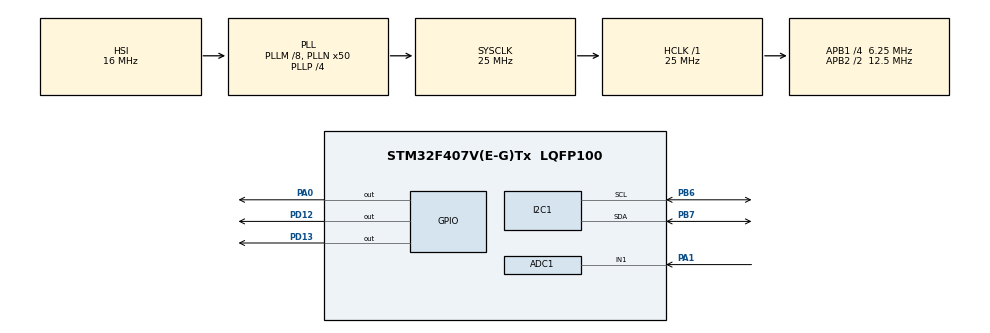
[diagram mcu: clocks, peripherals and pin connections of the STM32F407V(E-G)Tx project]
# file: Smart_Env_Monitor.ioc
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ADC1.Channel-1\#ChannelRegularConversion=ADC_CHANNEL_1
ADC1.NbrOfConversionFlag=1
ADC1.Rank-1\#ChannelRegularConversion=1
ADC1.SamplingTime-1\#ChannelRegularConversion=ADC_SAMPLETIME_3CYCLES
ADC1.master=1
Mcu.Family=STM32F4
Mcu.Name=STM32F407V(E-G)Tx
Mcu.Package=LQFP100
NVIC.PriorityGroup=NVIC_PRIORITYGROUP_0
PA0-WKUP.Signal=GPIO_Output
PA1.Signal=ADCx_IN1
PB6.Mode=I2C
PB6.Signal=I2C1_SCL
PB7.Mode=I2C
PB7.Signal=I2C1_SDA
PD12.Signal=GPIO_Output
PD13.Signal=GPIO_Output
PH0-OSC_IN.Mode=HSE-External-Oscillator
PH0-OSC_IN.Signal=RCC_OSC_IN
PH1-OSC_OUT.Mode=HSE-External-Oscillator
PH1-OSC_OUT.Signal=RCC_OSC_OUT
ProjectManager.HeapSize=0x200
ProjectManager.StackSize=0x400
ProjectManager.TargetToolchain=STM32CubeIDE
RCC.48MHZClocksFreq_Value=14285714.285714285
RCC.AHBFreq_Value=25000000
RCC.APB1CLKDivider=RCC_HCLK_DIV4
RCC.APB1Freq_Value=6250000
RCC.APB1TimFreq_Value=12500000
RCC.APB2CLKDivider=RCC_HCLK_DIV2
RCC.APB2Freq_Value=12500000
RCC.APB2TimFreq_Value=25000000
RCC.CortexFreq_Value=25000000
RCC.HCLKFreq_Value=25000000
RCC.HSE_VALUE=8000000
RCC.HSI_VALUE=16000000
RCC.LSE_VALUE=32768
RCC.PLLM=8
RCC.PLLN=50
RCC.PLLP=RCC_PLLP_DIV4
RCC.PLLQ=7
RCC.SYSCLKFreq_VALUE=25000000
RCC.SYSCLKSource=RCC_SYSCLKSOURCE_PLLCLK
RCC.VCOOutputFreq_Value=100000000
SH.ADCx_IN1.0=ADC1_IN1,IN1
board=STM32F407G-DISC1

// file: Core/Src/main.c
/* USER CODE BEGIN Header */
/**
  ******************************************************************************
  * @file           : main.c
  * @brief          : Main program body
  ******************************************************************************
  * @attention
  *
  * Copyright (c) 2025 STMicroelectronics.
  * All rights reserved.
  *
  * This software is licensed under terms that can be found in the LICENSE file
  * in the root directory of this software component.
  * If no LICENSE file comes with this software, it is provided AS-IS.
  *
  ******************************************************************************
  */
/* USER CODE END Header */
#include "main.h"

/* USER CODE BEGIN Includes */
#include "main.h"
#include "My_lcd.h"
#include "Mq2.h"
#include "DHT11.h"
#include <stdio.h>
#include<string.h>

/* USER CODE END Includes */

ADC_HandleTypeDef hadc1;

I2C_HandleTypeDef hi2c1;

void SystemClock_Config(void);
static void MX_GPIO_Init(void);
static void MX_ADC1_Init(void);
static void MX_I2C1_Init(void);

int main(void)
{

  /* MCU Configuration--------------------------------------------------------*/

  /* Reset of all peripherals, Initializes the Flash interface and the Systick. */
  HAL_Init();

  /* Configure the system clock */
  SystemClock_Config();

  /* Initialize all configured peripherals */
  MX_GPIO_Init();
  MX_ADC1_Init();
  MX_I2C1_Init();
  /* USER CODE BEGIN 2 */

  uint8_t temperature = 0;
  uint8_t humidity = 0;
  char str[20];
  char str1[50];
  int gas;
    if (!lcd16x2_i2c_init(&hi2c1))
        {
            // LCD not detected
            while(1);
         }
    lcd16x2_i2c_clear();
    lcd16x2_i2c_setCursor(0, 0);
   	lcd16x2_i2c_printf("start:");
    HAL_Delay(2000);

  /* USER CODE END 2 */

  /* Infinite loop */
  while (1)
  {

    /* USER CODE BEGIN 3 */

	  gas = mq2_Read();
	  		  	  	  lcd16x2_i2c_clear();
	  		  	 	  lcd16x2_i2c_setCursor(0, 0);
	  		  	 	  lcd16x2_i2c_printf("Alert:");
	  		  	      lcd16x2_i2c_setCursor(0, 7);
	  		  	      sprintf(str, " ADC:%d", gas);
	  		  	 	  lcd16x2_i2c_printf(str);
	  		  	 	  HAL_Delay(1000);

	  		  	 	 HAL_GPIO_WritePin(GPIOD,GPIO_PIN_12|GPIO_PIN_13,GPIO_PIN_RESET);
	  		  	     if (gas >200 && gas<500)
	  		  	 	  {
	  		  	 	 HAL_GPIO_WritePin(GPIOD, GPIO_PIN_12, GPIO_PIN_SET);
	  		  	      }
	  		  	     else if(gas>500 && gas<2000)
	  		  	 	 {
	  		  	 	  HAL_GPIO_WritePin(GPIOD, GPIO_PIN_13, GPIO_PIN_SET);
	  		  	 	 }

	  		  	    // HAL_Delay(10);
	  		  	    // lcd16x2_i2c_setCursor(1,0);

	  		  	     	  //gas = mq2_Read();
	  		  	     //lcd16x2_i2c_clear();
	  		  	   HAL_Delay(2000);
	  		  	     int test = DHT11_Read(&temperature, &humidity);
	  		  	      lcd16x2_i2c_clear();
	  		  	  	  lcd16x2_i2c_setCursor(1, 0);
	  		  	  	  sprintf(str1, "ret = %d", test);
	  		  	  	lcd16x2_i2c_printf(str1);

	  		  	     	  if ( test == 0)
	  		  	     	  {
	  		  	     		  lcd16x2_i2c_clear();
	  		  	     	      lcd16x2_i2c_setCursor(1, 0);
	  		  	     	      sprintf(str1, "T:%d C,H=%d ", temperature, humidity);
	  		  	     	      lcd16x2_i2c_printf(str1);
	  		  	     	      HAL_Delay(1000);

	  		  	     	  }

  }
  /* USER CODE END 3 */
}

void SystemClock_Config(void)
{
  RCC_OscInitTypeDef RCC_OscInitStruct = {0};
  RCC_ClkInitTypeDef RCC_ClkInitStruct = {0};

  /** Configure the main internal regulator output voltage
  */
  __HAL_RCC_PWR_CLK_ENABLE();
  __HAL_PWR_VOLTAGESCALING_CONFIG(PWR_REGULATOR_VOLTAGE_SCALE1);

  /** Initializes the RCC Oscillators according to the specified parameters
  * in the RCC_OscInitTypeDef structure.
  */
  RCC_OscInitStruct.OscillatorType = RCC_OSCILLATORTYPE_HSI;
  RCC_OscInitStruct.HSIState = RCC_HSI_ON;
  RCC_OscInitStruct.HSICalibrationValue = RCC_HSICALIBRATION_DEFAULT;
  RCC_OscInitStruct.PLL.PLLState = RCC_PLL_ON;
  RCC_OscInitStruct.PLL.PLLSource = RCC_PLLSOURCE_HSI;
  RCC_OscInitStruct.PLL.PLLM = 8;
  RCC_OscInitStruct.PLL.PLLN = 50;
  RCC_OscInitStruct.PLL.PLLP = RCC_PLLP_DIV4;
  RCC_OscInitStruct.PLL.PLLQ = 7;
  if (HAL_RCC_OscConfig(&RCC_OscInitStruct) != HAL_OK)
  {
    Error_Handler();
  }

  /** Initializes the CPU, AHB and APB buses clocks
  */
  RCC_ClkInitStruct.ClockType = RCC_CLOCKTYPE_HCLK|RCC_CLOCKTYPE_SYSCLK
                              |RCC_CLOCKTYPE_PCLK1|RCC_CLOCKTYPE_PCLK2;
  RCC_ClkInitStruct.SYSCLKSource = RCC_SYSCLKSOURCE_PLLCLK;
  RCC_ClkInitStruct.AHBCLKDivider = RCC_SYSCLK_DIV1;
  RCC_ClkInitStruct.APB1CLKDivider = RCC_HCLK_DIV4;
  RCC_ClkInitStruct.APB2CLKDivider = RCC_HCLK_DIV2;

  if (HAL_RCC_ClockConfig(&RCC_ClkInitStruct, FLASH_LATENCY_0) != HAL_OK)
  {
    Error_Handler();
  }
}

static void MX_ADC1_Init(void)
{

  ADC_ChannelConfTypeDef sConfig = {0};

  /** Configure the global features of the ADC (Clock, Resolution, Data Alignment and number of conversion)
  */
  hadc1.Instance = ADC1;
  hadc1.Init.ClockPrescaler = ADC_CLOCK_SYNC_PCLK_DIV2;
  hadc1.Init.Resolution = ADC_RESOLUTION_12B;
  hadc1.Init.ScanConvMode = DISABLE;
  hadc1.Init.ContinuousConvMode = DISABLE;
  hadc1.Init.DiscontinuousConvMode = DISABLE;
  hadc1.Init.ExternalTrigConvEdge = ADC_EXTERNALTRIGCONVEDGE_NONE;
  hadc1.Init.ExternalTrigConv = ADC_SOFTWARE_START;
  hadc1.Init.DataAlign = ADC_DATAALIGN_RIGHT;
  hadc1.Init.NbrOfConversion = 1;
  hadc1.Init.DMAContinuousRequests = DISABLE;
  hadc1.Init.EOCSelection = ADC_EOC_SINGLE_CONV;
  if (HAL_ADC_Init(&hadc1) != HAL_OK)
  {
    Error_Handler();
  }

  /** Configure for the selected ADC regular channel its corresponding rank in the sequencer and its sample time.
  */
  sConfig.Channel = ADC_CHANNEL_1;
  sConfig.Rank = 1;
  sConfig.SamplingTime = ADC_SAMPLETIME_3CYCLES;
  if (HAL_ADC_ConfigChannel(&hadc1, &sConfig) != HAL_OK)
  {
    Error_Handler();
  }

}

static void MX_I2C1_Init(void)
{

  hi2c1.Instance = I2C1;
  hi2c1.Init.ClockSpeed = 100000;
  hi2c1.Init.DutyCycle = I2C_DUTYCYCLE_2;
  hi2c1.Init.OwnAddress1 = 0;
  hi2c1.Init.AddressingMode = I2C_ADDRESSINGMODE_7BIT;
  hi2c1.Init.DualAddressMode = I2C_DUALADDRESS_DISABLE;
  hi2c1.Init.OwnAddress2 = 0;
  hi2c1.Init.GeneralCallMode = I2C_GENERALCALL_DISABLE;
  hi2c1.Init.NoStretchMode = I2C_NOSTRETCH_DISABLE;
  if (HAL_I2C_Init(&hi2c1) != HAL_OK)
  {
    Error_Handler();
  }

}

static void MX_GPIO_Init(void)
{
  GPIO_InitTypeDef GPIO_InitStruct = {0};

  /* GPIO Ports Clock Enable */
  __HAL_RCC_GPIOH_CLK_ENABLE();
  __HAL_RCC_GPIOA_CLK_ENABLE();
  __HAL_RCC_GPIOD_CLK_ENABLE();
  __HAL_RCC_GPIOB_CLK_ENABLE();

  /*Configure GPIO pin Output Level */
  HAL_GPIO_WritePin(GPIOA, GPIO_PIN_0, GPIO_PIN_RESET);

  /*Configure GPIO pin Output Level */
  HAL_GPIO_WritePin(GPIOD, GPIO_PIN_12|GPIO_PIN_13, GPIO_PIN_RESET);

  /*Configure GPIO pin : PA0 */
  GPIO_InitStruct.Pin = GPIO_PIN_0;
  GPIO_InitStruct.Mode = GPIO_MODE_OUTPUT_PP;
  GPIO_InitStruct.Pull = GPIO_NOPULL;
  GPIO_InitStruct.Speed = GPIO_SPEED_FREQ_LOW;
  HAL_GPIO_Init(GPIOA, &GPIO_InitStruct);

  /*Configure GPIO pins : PD12 PD13 */
  GPIO_InitStruct.Pin = GPIO_PIN_12|GPIO_PIN_13;
  GPIO_InitStruct.Mode = GPIO_MODE_OUTPUT_PP;
  GPIO_InitStruct.Pull = GPIO_NOPULL;
  GPIO_InitStruct.Speed = GPIO_SPEED_FREQ_LOW;
  HAL_GPIO_Init(GPIOD, &GPIO_InitStruct);

}

void Error_Handler(void)
{
  __disable_irq();
  while (1)
  {
  }
}
